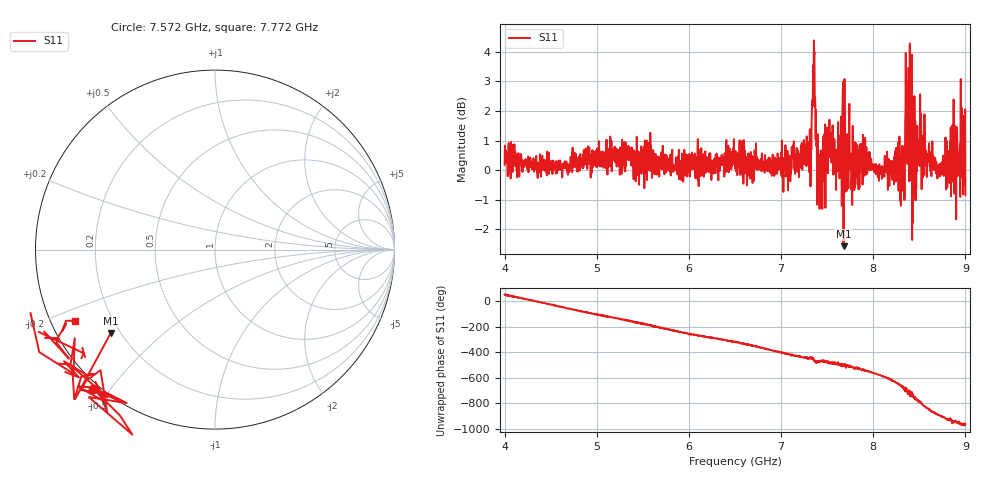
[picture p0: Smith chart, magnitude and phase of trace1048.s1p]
! Created with skrf 1.8.0 (http://scikit-rf.org).
# Hz S RI R 50.0
!freq ReS11 ImS11
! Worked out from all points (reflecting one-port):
!   1601 points, 4 GHz to 9 GHz, reference 50 ohm
!   lowest |S11| = -2.6 dB at 7.678 GHz (marker M1), VSWR 6.82, Z = 8.21 - j17.1 ohm
!   phase of S11 starts at 52 deg and turns -1016 deg over the sweep
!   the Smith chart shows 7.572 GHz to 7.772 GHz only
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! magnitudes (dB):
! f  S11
! 4 GHz  0.2
! 4.625 GHz  -0.2
! 5.25 GHz  -0.2
! 5.875 GHz  -0.1
! 6.5 GHz  0.2
! 7.125 GHz  0.5
! 7.297 GHz  0.9
! 7.356 GHz  4.4
! 7.381 GHz  1.0
! 7.4 GHz  1.2
! 7.416 GHz  -1.3
! 7.516 GHz  0.5
! 7.619 GHz  1.6
! 7.678 GHz  -2.6
! 7.75 GHz  0.2
! 8.097 GHz  0.1
! 8.259 GHz  0.5
! 8.316 GHz  0.1
! 8.375 GHz  1.1
! 8.394 GHz  0.3
! 8.412 GHz  -0.1
! 8.447 GHz  2.5
! 8.459 GHz  -1.0
! 8.534 GHz  1.1
! 8.703 GHz  0.1
! 8.825 GHz  0.2
! 8.972 GHz  0.7
! 9 GHz  -0.8
